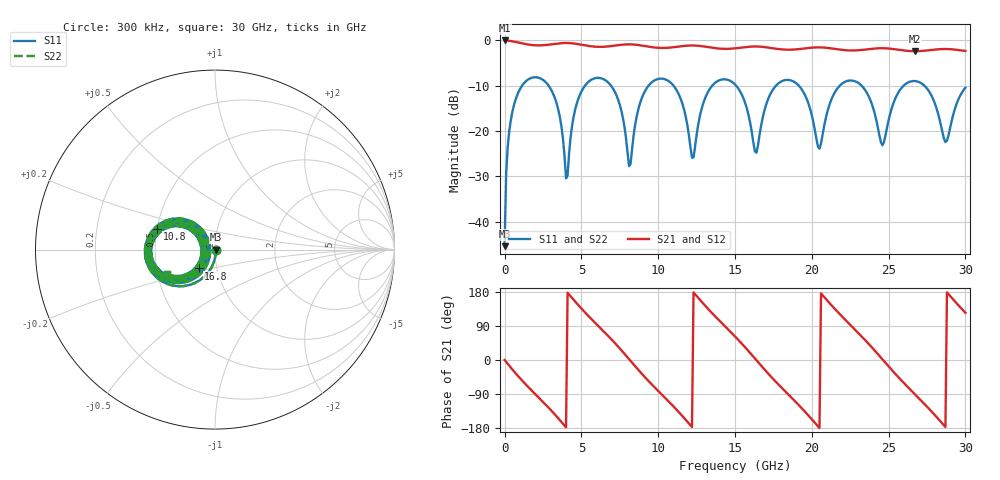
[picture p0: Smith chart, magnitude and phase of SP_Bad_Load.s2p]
! Created Wed Feb 24 12:14:13 2021
! List of port names and net name(s): example Port n = <port_name> <net_name1> <net_name2> ...
! Port 1 = P1 P2
! Port 2 = P2 P2
# hz S ri R 50
! 2 Port Network Data from data block
! freq  reS11  imS11  reS21  imS21  reS12  imS12  reS22  imS22
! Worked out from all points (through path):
!   301 points, 300 kHz to 30 GHz, reference 50 ohm
!   highest |S21| = -0.05 dB at 300 kHz (marker M1); lowest = -2.4 dB at 26.7 GHz (marker M2)
!   group delay of S21, straight-line fit = 121 ps
!   lowest |S11| = -45.4 dB at 300 kHz (marker M3), VSWR 1.01, Z = 50.5 - j0.0104 ohm
!   |S11| at or under -10 dB: 19.15 GHz to 21.83 GHz (2.676 GHz wide, 13.1 % of centre); 23.24 GHz to 25.98 GHz (2.748 GHz wide, 11.2 % of centre); 27.33 GHz to end of sweep (the widest 3 of 8)
!   |S22| runs from -45.4 to -8.2 dB; largest |S21 - S12| = 0
!   S11 on the Smith chart (normalised r, x): 300 kHz: 1.01, -0.00; 10.8 GHz: 0.50, +0.13; 16.8 GHz: 0.82, -0.17; 30 GHz: 0.56, -0.17
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300000  0.00538 -0.000102  0.9946 -0.000268  0.9946 -0.000268  0.00538 -0.000102
2.003e8  -0.00495 -0.0662  0.9747 -0.1732  0.9747 -0.1732  -0.00495 -0.0662
9.003e8  -0.174 -0.2032  0.6834 -0.6497  0.6834 -0.6497  -0.174 -0.2032
3.0003e9  -0.2349 0.1718  -0.5984 -0.6717  -0.5984 -0.6717  -0.2349 0.1718
4.0003e9  -0.0275 0.0121  -0.9324 -0.0379  -0.9324 -0.0379  -0.0275 0.0121
5.0003e9  -0.1984 -0.1863  -0.6397 0.6226  -0.6397 0.6226  -0.1984 -0.1863
7.9003e9  -0.0542 0.0648  0.8802 0.1855  0.8802 0.1855  -0.0542 0.0648
1.00003e10  -0.3705 -0.0568  0.1197 -0.8166  0.1197 -0.8166  -0.3705 -0.0568
1.08003e10  -0.3217 0.1163  -0.3419 -0.7568  -0.3419 -0.7568  -0.3217 0.1163
1.22003e10  -0.0494 0.0114  -0.8746 -0.047  -0.8746 -0.047  -0.0494 0.0114
1.33003e10  -0.2245 -0.1677  -0.567 0.616  -0.567 0.616  -0.2245 -0.1677
1.50003e10  -0.3015 0.1232  0.3795 0.7202  0.3795 0.7202  -0.3015 0.1232
1.63003e10  -0.0577 0.0137  0.852 0.0589  0.852 0.0589  -0.0577 0.0137
1.68003e10  -0.0918 -0.1052  0.7975 -0.2809  0.7975 -0.2809  -0.0918 -0.1052
1.84003e10  -0.3652 -0.0168  0.026 -0.7865  0.026 -0.7865  -0.3652 -0.0168
2.00003e10  -0.1097 0.1015  -0.7591 -0.3316  -0.7591 -0.3316  -0.1097 0.1015
2.05003e10  -0.0633 -0.00755  -0.8346 -0.00549  -0.8346 -0.00549  -0.0633 -0.00755
2.25003e10  -0.3596 -0.0218  -0.0406 0.7707  -0.0406 0.7707  -0.3596 -0.0218
2.50003e10  -0.0956 -0.0906  0.7758 -0.2351  0.7758 -0.2351  -0.0956 -0.0906
2.67003e10  -0.3551 -0.00728  0.00277 -0.7574  0.00277 -0.7574  -0.3551 -0.00728
2.87003e10  -0.0755 0.00224  -0.7996 -0.0435  -0.7996 -0.0435  -0.0755 0.00224
3.00003e10  -0.266 -0.1371  -0.4331 0.6268  -0.4331 0.6268  -0.266 -0.1371
